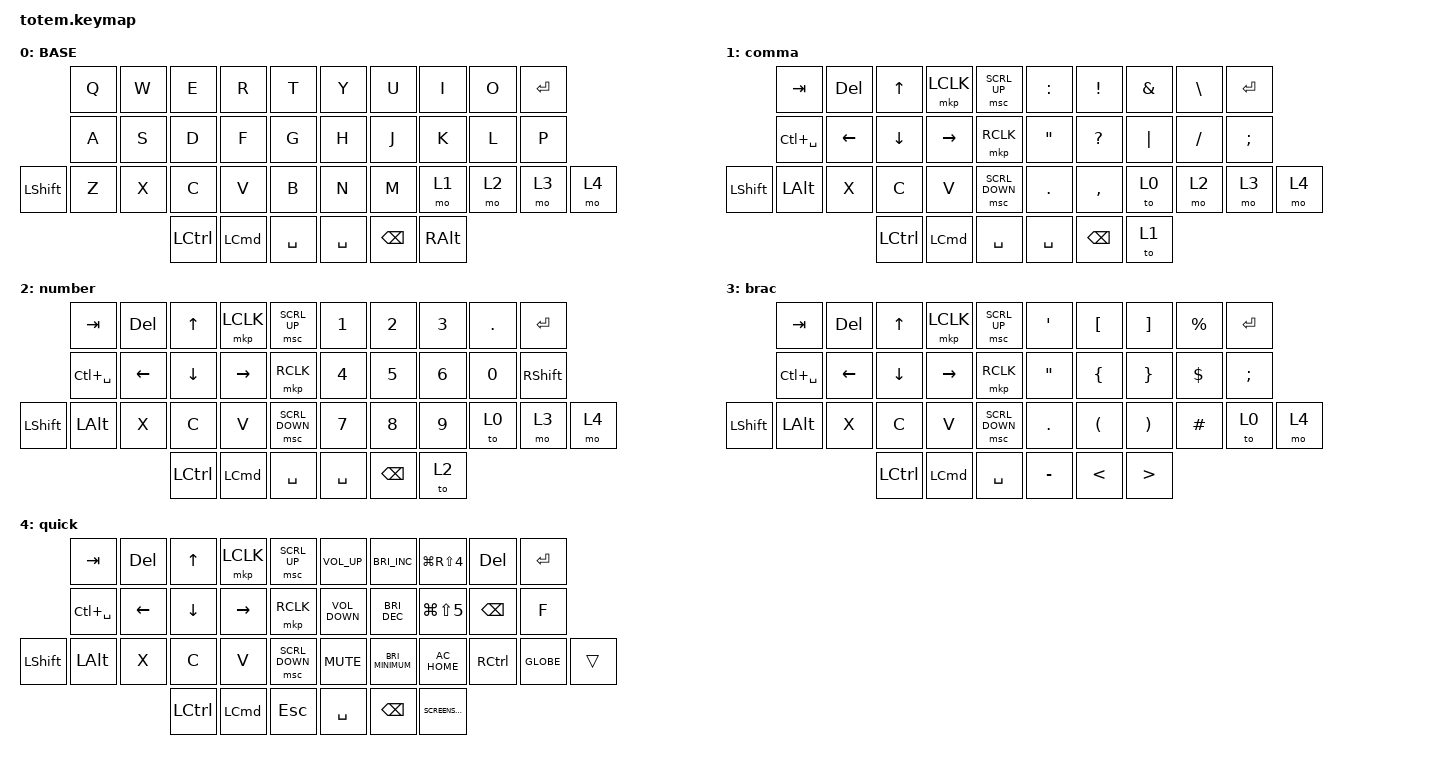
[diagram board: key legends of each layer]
//
//                                                        ▀▀▀▀▀     ▀▀▀▀▀          ▀▀█▀▀
//                                                        ▄▀▀▀▄  ▄  ▄▀▀▀▄  ▄  ▄▀▀▀▄  █  ▄▀▀▀▄
//                                                        █   █  █  █   █  █  █   █  █  █   █
//                                                         ▀▀▀   █   ▀▀▀   █   ▀▀▀   ▀   ▀▀▀
//                                                               █      ▄▄▄█▄▄▄    █   █  
//                                                               ▀      █  █  █     █▄█
//                                                             ▀▀▀▀▀    █  █  █      ▀
//                                                                      ▀  ▀  ▀
//
// ▄▄▄▄▄▄▄▄▄▄▄▄▄▄▄▄▄▄▄▄▄▄▄▄▄▄▄▄▄▄▄▄▄▄▄▄▄▄▄▄▄▄▄▄▄▄▄▄▄▄▄▄▄▄▄▄▄▄▄▄▄▄▄▄▄▄▄▄▄▄▄▄▄▄▄▄▄▄▄▄▄▄▄▄▄▄▄▄▄▄▄▄▄▄▄▄▄▄▄▄▄▄▄▄▄▄▄▄▄▄▄▄▄▄▄▄▄▄▄▄▄▄▄▄▄▄▄▄▄▄▄▄▄▄▄▄▄▄▄▄▄▄▄▄▄▄▄▄▄

#include <behaviors.dtsi>
#include <dt-bindings/zmk/keys.h>
#include <dt-bindings/zmk/pointing.h>

#define BASE 0
#define NAV  1
#define SYM  2
#define ADJ  3
#define TVP1 4
#define TVP2 5

&mt {
    quick-tap-ms = <100>;
    global-quick-tap;
    flavor = "tap-preferred";
    tapping-term-ms = <170>;
};

/ {
    combos {
        compatible = "zmk,combos";

        cmd2 {
            bindings = <&kp RIGHT_COMMAND>;
            key-positions = <35 36>;
            layers = <0>;
        };
    };

    macros {
        gif: gif {
            label = "giphy";
            compatible = "zmk,behavior-macro";
            #binding-cells = <0>;
            bindings =
                <&macro_press>,
                <&kp LSHFT>,
                <&macro_tap>,
                <&kp N2>,
                <&macro_release>,
                <&kp LSHFT>,
                <&macro_tap>,
                <&kp G &kp I &kp F>;
        };
    };

    keymap {
        compatible = "zmk,keymap";

        // ▄▄▄▄▄▄▄▄▄▄▄▄▄▄▄▄▄▄▄▄▄▄▄▄▄▄▄▄▄▄▄▄▄▄▄▄▄▄▄▄▄▄▄▄▄▄▄▄▄▄▄▄▄▄▄▄▄▄▄▄▄▄▄▄▄▄▄▄▄▄▄▄▄▄▄▄▄▄▄▄▄▄▄▄▄▄▄▄▄▄▄▄▄▄▄▄▄▄▄▄▄▄▄▄▄▄▄▄▄▄▄▄▄▄▄▄▄▄▄▄▄▄▄▄▄▄▄▄▄▄▄▄▄▄▄▄▄▄▄▄▄▄▄▄▄▄▄▄▄

        BaseType {
            // ┏━━━━━━━━━━━━━━━━━━━━━━━━━━━━━━━━━━━━━━━┓

            label = "BASE";

            // ┗━━━━━━━━━━━━━━━━━━━━━━━━━━━━━━━━━━━━━━━┛
            //             ┏━━━━━━━━━━━┳━━━━━━━━━━━┳━━━━━━━━━━━┳━━━━━━━━━━━┳━━━━━━━━━━━┓   ┏━━━━━━━━━━━┳━━━━━━━━━━━┳━━━━━━━━━━━┳━━━━━━━━━━━┳━━━━━━━━━━━┓
            //             ┃     Q     ┃     W     ┃     F     ┃     P     ┃     G     ┃   ┃     J     ┃     L     ┃     U     ┃     Y     ┃     ;     ┃
            //             ┣━━━━━━━━━━━╋━━━━━━━━━━━╋━━━━━━━━━━━╋━━━━━━━━━━━╋━━━━━━━━━━━┫   ┣━━━━━━━━━━━╋━━━━━━━━━━━╋━━━━━━━━━━━╋━━━━━━━━━━━╋━━━━━━━━━━━┫
            //             ┃     A     ┃     R     ┃     S     ┃     T     ┃     D     ┃   ┃     H     ┃     N     ┃     E     ┃     I     ┃     O     ┃
            // ┏━━━━━━━━━━━╋━━━━━━━━━━━╋━━━━━━━━━━━╋━━━━━━━━━━━╋━━━━━━━━━━━╋━━━━━━━━━━━┫   ┣━━━━━━━━━━━╋━━━━━━━━━━━╋━━━━━━━━━━━╋━━━━━━━━━━━╋━━━━━━━━━━━╋━━━━━━━━━━━┓
            // ┃     Q     ┃     Z     ┃     X     ┃     C     ┃     V     ┃     B     ┃   ┃     K     ┃     M     ┃     ,     ┃     .     ┃     /     ┃     \     ┃
            // ┗━━━━━━━━━━━┻━━━━━━━━━━━┻━━━━━━━━━━━╋━━━━━━━━━━━╋━━━━━━━━━━━╋━━━━━━━━━━━┫   ┣━━━━━━━━━━━╋━━━━━━━━━━━╋━━━━━━━━━━━╋━━━━━━━━━━━┻━━━━━━━━━━━┻━━━━━━━━━━━┛
            //                                     ┃    DEL    ┃    TAB    ┃    SPC    ┃   ┃   ENTER   ┃           ┃   BSPC    ┃
            //                                     ┗━━━━━━━━━━━┻━━━━━━━━━━━┻━━━━━━━━━━━┛   ┗━━━━━━━━━━━┻━━━━━━━━━━━┻━━━━━━━━━━━┛

            bindings = <
                &kp Q  &kp W  &kp E             &kp R             &kp T        &kp Y      &kp U          &kp I          &kp O  &kp ENTER
                &kp A  &kp S  &kp D             &kp F             &kp G        &kp H      &kp J          &kp K          &kp L  &kp P
&kp LEFT_SHIFT  &kp Z  &kp X  &kp C             &kp V             &kp B        &kp N      &kp M          &mo 1          &mo 2  &mo 3      &mo 4
                              &kp LEFT_CONTROL  &kp LEFT_COMMAND  &kp SPACE    &kp SPACE  &kp BACKSPACE  &kp RIGHT_ALT
            >;
        };

        // ▄▄▄▄▄▄▄▄▄▄▄▄▄▄▄▄▄▄▄▄▄▄▄▄▄▄▄▄▄▄▄▄▄▄▄▄▄▄▄▄▄▄▄▄▄▄▄▄▄▄▄▄▄▄▄▄▄▄▄▄▄▄▄▄▄▄▄▄▄▄▄▄▄▄▄▄▄▄▄▄▄▄▄▄▄▄▄▄▄▄▄▄▄▄▄▄▄▄▄▄▄▄▄▄▄▄▄▄▄▄▄▄▄▄▄▄▄▄▄▄▄▄▄▄▄▄▄▄▄▄▄▄▄▄▄▄▄▄▄▄▄▄▄▄▄▄▄▄▄
        // ▄▄▄▄▄▄▄▄▄▄▄▄▄▄▄▄▄▄▄▄▄▄▄▄▄▄▄▄▄▄▄▄▄▄▄▄▄▄▄▄▄▄▄▄▄▄▄▄▄▄▄▄▄▄▄▄▄▄▄▄▄▄▄▄▄▄▄▄▄▄▄▄▄▄▄▄▄▄▄▄▄▄▄▄▄▄▄▄▄▄▄▄▄▄▄▄▄▄▄▄▄▄▄▄▄▄▄▄▄▄▄▄▄▄▄▄▄▄▄▄▄▄▄▄▄▄▄▄▄▄▄▄▄▄▄▄▄▄▄▄▄▄▄▄▄▄▄▄▄
        // ▄▄▄▄▄▄▄▄▄▄▄▄▄▄▄▄▄▄▄▄▄▄▄▄▄▄▄▄▄▄▄▄▄▄▄▄▄▄▄▄▄▄▄▄▄▄▄▄▄▄▄▄▄▄▄▄▄▄▄▄▄▄▄▄▄▄▄▄▄▄▄▄▄▄▄▄▄▄▄▄▄▄▄▄▄▄▄▄▄▄▄▄▄▄▄▄▄▄▄▄▄▄▄▄▄▄▄▄▄▄▄▄▄▄▄▄▄▄▄▄▄▄▄▄▄▄▄▄▄▄▄▄▄▄▄▄▄▄▄▄▄▄▄▄▄▄▄▄▄
        // ▄▄▄▄▄▄▄▄▄▄▄▄▄▄▄▄▄▄▄▄▄▄▄▄▄▄▄▄▄▄▄▄▄▄▄▄▄▄▄▄▄▄▄▄▄▄▄▄▄▄▄▄▄▄▄▄▄▄▄▄▄▄▄▄▄▄▄▄▄▄▄▄▄▄▄▄▄▄▄▄▄▄▄▄▄▄▄▄▄▄▄▄▄▄▄▄▄▄▄▄▄▄▄▄▄▄▄▄▄▄▄▄▄▄▄▄▄▄▄▄▄▄▄▄▄▄▄▄▄▄▄▄▄▄▄▄▄▄▄▄▄▄▄▄▄▄▄▄▄
        // ▄▄▄▄▄▄▄▄▄▄▄▄▄▄▄▄▄▄▄▄▄▄▄▄▄▄▄▄▄▄▄▄▄▄▄▄▄▄▄▄▄▄▄▄▄▄▄▄▄▄▄▄▄▄▄▄▄▄▄▄▄▄▄▄▄▄▄▄▄▄▄▄▄▄▄▄▄▄▄▄▄▄▄▄▄▄▄▄▄▄▄▄▄▄▄▄▄▄▄▄▄▄▄▄▄▄▄▄▄▄▄▄▄▄▄▄▄▄▄▄▄▄▄▄▄▄▄▄▄▄▄▄▄▄▄▄▄▄▄▄▄▄▄▄▄▄▄▄▄

        parse {
            label = "comma";
            bindings = <
                &kp TAB        &kp DELETE      &kp UP_ARROW      &mkp LCLK         &msc SCRL_UP      &kp COLON          &kp EXCLAMATION  &kp AMPERSAND  &kp BACKSLASH  &kp ENTER
                &kp LC(SPACE)  &kp LEFT_ARROW  &kp DOWN_ARROW    &kp RIGHT_ARROW   &mkp RCLK         &kp DOUBLE_QUOTES  &kp QUESTION     &kp PIPE       &kp SLASH      &kp SEMICOLON
&kp LEFT_SHIFT  &kp LEFT_ALT   &kp X           &kp C             &kp V             &msc SCRL_DOWN    &kp PERIOD         &kp COMMA        &to 0          &mo 2          &mo 3          &mo 4
                                               &kp LEFT_CONTROL  &kp LEFT_COMMAND  &kp SPACE         &kp SPACE          &kp BACKSPACE    &to 1
            >;
        };

        numb9 {
            label = "number";
            bindings = <
                &kp TAB        &kp DELETE      &kp UP_ARROW      &mkp LCLK         &msc SCRL_UP      &kp NUMBER_1  &kp NUMBER_2   &kp NUMBER_3  &kp DOT       &kp ENTER
                &kp LC(SPACE)  &kp LEFT_ARROW  &kp DOWN_ARROW    &kp RIGHT_ARROW   &mkp RCLK         &kp NUMBER_4  &kp NUMBER_5   &kp NUMBER_6  &kp NUMBER_0  &kp RIGHT_SHIFT
&kp LEFT_SHIFT  &kp LEFT_ALT   &kp X           &kp C             &kp V             &msc SCRL_DOWN    &kp NUMBER_7  &kp NUMBER_8   &kp NUMBER_9  &to 0         &mo 3            &mo 4
                                               &kp LEFT_CONTROL  &kp LEFT_COMMAND  &kp SPACE         &kp SPACE     &kp BACKSPACE  &to 2
            >;
        };

        brac {
            label = "brac";
            bindings = <
                &kp TAB        &kp DELETE      &kp UP_ARROW      &mkp LCLK         &msc SCRL_UP      &kp SINGLE_QUOTE   &kp LEFT_BRACKET      &kp RIGHT_BRACKET      &kp PERCENT  &kp ENTER
                &kp LC(SPACE)  &kp LEFT_ARROW  &kp DOWN_ARROW    &kp RIGHT_ARROW   &mkp RCLK         &kp DOUBLE_QUOTES  &kp LEFT_BRACE        &kp RIGHT_BRACE        &kp DOLLAR   &kp SEMICOLON
&kp LEFT_SHIFT  &kp LEFT_ALT   &kp X           &kp C             &kp V             &msc SCRL_DOWN    &kp PERIOD         &kp LEFT_PARENTHESIS  &kp RIGHT_PARENTHESIS  &kp HASH     &to 0          &mo 4
                                               &kp LEFT_CONTROL  &kp LEFT_COMMAND  &kp SPACE         &kp MINUS          &kp LESS_THAN         &kp GREATER_THAN
            >;
        };

        quick_start {
            label = "quick";
            bindings = <
                &kp TAB        &kp DELETE      &kp UP_ARROW      &mkp LCLK         &msc SCRL_UP      &kp C_VOLUME_UP    &kp C_BRIGHTNESS_INC      &kp LG(RS(NUMBER_4))  &kp DELETE         &kp ENTER
                &kp LC(SPACE)  &kp LEFT_ARROW  &kp DOWN_ARROW    &kp RIGHT_ARROW   &mkp RCLK         &kp C_VOLUME_DOWN  &kp C_BRIGHTNESS_DEC      &kp LG(LS(NUMBER_5))  &kp BACKSPACE      &kp F
&kp LEFT_SHIFT  &kp LEFT_ALT   &kp X           &kp C             &kp V             &msc SCRL_DOWN    &kp K_MUTE         &kp C_BRIGHTNESS_MINIMUM  &kp C_AC_HOME         &kp RIGHT_CONTROL  &kp GLOBE  &trans
                                               &kp LEFT_CONTROL  &kp LEFT_COMMAND  &kp ESCAPE        &kp SPACE          &kp BACKSPACE             &kp K_SCREENSAVER
            >;
        };
    };
};
